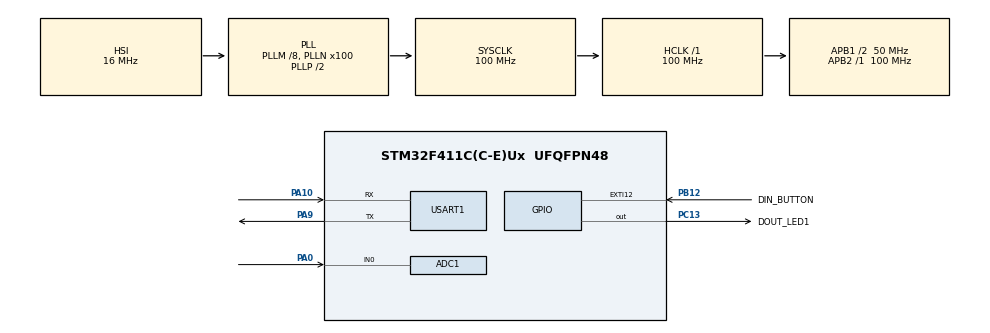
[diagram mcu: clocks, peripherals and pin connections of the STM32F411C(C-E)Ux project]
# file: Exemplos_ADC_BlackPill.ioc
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ADC1.Channel-2\#ChannelRegularConversion=ADC_CHANNEL_0
ADC1.ContinuousConvMode=ENABLE
ADC1.NbrOfConversionFlag=1
ADC1.Rank-2\#ChannelRegularConversion=1
ADC1.SamplingTime-2\#ChannelRegularConversion=ADC_SAMPLETIME_3CYCLES
ADC1.master=1
Dma.ADC1.0.Direction=DMA_PERIPH_TO_MEMORY
Dma.ADC1.0.FIFOMode=DMA_FIFOMODE_DISABLE
Dma.ADC1.0.Instance=DMA2_Stream0
Dma.ADC1.0.MemDataAlignment=DMA_MDATAALIGN_HALFWORD
Dma.ADC1.0.MemInc=DMA_MINC_ENABLE
Dma.ADC1.0.Mode=DMA_CIRCULAR
Dma.ADC1.0.PeriphDataAlignment=DMA_PDATAALIGN_HALFWORD
Dma.ADC1.0.PeriphInc=DMA_PINC_DISABLE
Dma.ADC1.0.Priority=DMA_PRIORITY_LOW
Dma.Request0=ADC1
FREERTOS.Tasks01=defaultTask,0,128,StartDefaultTask,Default,NULL,Dynamic,NULL,NULL
Mcu.Family=STM32F4
Mcu.Name=STM32F411C(C-E)Ux
Mcu.Package=UFQFPN48
NVIC.DMA2_Stream0_IRQn=true\:5\:0\:false\:false\:true\:true\:false\:true
NVIC.EXTI15_10_IRQn=true\:5\:0\:false\:false\:true\:false\:true\:true
NVIC.PriorityGroup=NVIC_PRIORITYGROUP_4
NVIC.TIM2_IRQn=true\:15\:0\:false\:false\:true\:false\:false\:true
NVIC.TimeBase=TIM2_IRQn
NVIC.TimeBaseIP=TIM2
PA0-WKUP.Signal=ADCx_IN0
PA10.Mode=Asynchronous
PA10.Signal=USART1_RX
PA13.Mode=Serial_Wire
PA13.Signal=SYS_JTMS-SWDIO
PA14.Mode=Serial_Wire
PA14.Signal=SYS_JTCK-SWCLK
PA9.Mode=Asynchronous
PA9.Signal=USART1_TX
PB12.GPIO_Label=DIN_BUTTON
PB12.GPIO_PuPd=GPIO_PULLUP
PB12.Signal=GPXTI12
PC13-ANTI_TAMP.GPIO_Label=DOUT_LED1
PC13-ANTI_TAMP.GPIO_PuPd=GPIO_PULLUP
PC13-ANTI_TAMP.GPIO_Speed=GPIO_SPEED_FREQ_LOW
PC13-ANTI_TAMP.PinState=GPIO_PIN_SET
PC13-ANTI_TAMP.Signal=GPIO_Output
PC14-OSC32_IN.Mode=LSE-External-Oscillator
PC14-OSC32_IN.Signal=RCC_OSC32_IN
PC15-OSC32_OUT.Mode=LSE-External-Oscillator
PC15-OSC32_OUT.Signal=RCC_OSC32_OUT
PH0\ -\ OSC_IN.Mode=HSE-External-Oscillator
PH0\ -\ OSC_IN.Signal=RCC_OSC_IN
PH1\ -\ OSC_OUT.Mode=HSE-External-Oscillator
PH1\ -\ OSC_OUT.Signal=RCC_OSC_OUT
ProjectManager.HeapSize=0x200
ProjectManager.StackSize=0x400
ProjectManager.TargetToolchain=STM32CubeIDE
RCC.48MHZClocksFreq_Value=50000000
RCC.AHBFreq_Value=100000000
RCC.APB1CLKDivider=RCC_HCLK_DIV2
RCC.APB1Freq_Value=50000000
RCC.APB1TimFreq_Value=100000000
RCC.APB2Freq_Value=100000000
RCC.APB2TimFreq_Value=100000000
RCC.CortexFreq_Value=100000000
RCC.HCLKFreq_Value=100000000
RCC.HSE_VALUE=25000000
RCC.HSI_VALUE=16000000
RCC.PLLM=8
RCC.PLLN=100
RCC.SYSCLKFreq_VALUE=100000000
RCC.SYSCLKSource=RCC_SYSCLKSOURCE_PLLCLK
RCC.VCOOutputFreq_Value=200000000
SH.ADCx_IN0.0=ADC1_IN0,IN0
USART1.VirtualMode=VM_ASYNC
VP_FREERTOS_VS_CMSIS_V1.Mode=CMSIS_V1
VP_SYS_VS_tim2.Mode=TIM2
board=custom

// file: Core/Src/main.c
/* USER CODE BEGIN Header */
/**
 ******************************************************************************
 * @file           : main.c
 * @brief          : Main program body
 ******************************************************************************
 * @attention
 *
 * <h2><center>&copy; Copyright (c) 2022 STMicroelectronics.
 * All rights reserved.</center></h2>
 *
 * This software component is licensed by ST under BSD 3-Clause license,
 * the "License"; You may not use this file except in compliance with the
 * License. You may obtain a copy of the License at:
 *                        opensource.org/licenses/BSD-3-Clause
 *
 ******************************************************************************
 */
/* USER CODE END Header */
#include "main.h"

/* USER CODE BEGIN Includes */
#include "FreeRTOS.h"
#include "task.h"
#include "queue.h"
#include "semphr.h"
#include "event_groups.h"
#include "timers.h"

#include <stdio.h>
#include <string.h>
#include <stdint.h>
/* USER CODE END Includes */

/* USER CODE BEGIN PTD */
typedef enum {
	Bit_RESET = 0, Bit_SET
} BitAction;
/* USER CODE END PTD */

/* USER CODE BEGIN PD */
#define ULONG_MAX 0xFFFFFFFFUL

#define TNBIT_1 0x01
#define TNBIT_2 0x02
#define TNBIT_3 0x03
#define TNBIT_4 0x04
/* USER CODE END PD */

ADC_HandleTypeDef hadc1;

UART_HandleTypeDef huart1;

/* USER CODE BEGIN PV */
SemaphoreHandle_t xMutex = NULL;

TaskHandle_t xTaskHandle_ISR;
TaskHandle_t xTaskHandle_Evt_Ext;
TaskHandle_t xTaskHandle_3;
TaskHandle_t xTaskHandle_Recv_ADC;
/* USER CODE END PV */

void SystemClock_Config(void);
static void MX_GPIO_Init(void);
static void MX_ADC1_Init(void);
static void MX_USART1_UART_Init(void);
void StartDefaultTask(void const *argument);

/* USER CODE BEGIN PFP */
void vTask_blink(void *pvParameter);
void vTask_Handle(void *pvParameter);
void vTask_1(void *pvParameter);
void vTask_2(void *pvParameter);
void vTask_3(void *pvParameter);
void vTask_4(void *pvParameter);
void vTask_SEND_ADC(void *pvParameter);
void vTask_Recv_ADC(void *pvParameter);

void vPrintString(char *UartSend_f);
void USARTlib_Putc(UART_HandleTypeDef *huart, char c);
void USARTlib_Puts(char *str);
uint32_t Ain_Read_value();
/* USER CODE END PFP */

int main(void) {

	/* MCU Configuration--------------------------------------------------------*/

	/* Reset of all peripherals, Initializes the Flash interface and the Systick. */
	HAL_Init();

	/* Configure the system clock */
	SystemClock_Config();

	/* Initialize all configured peripherals */
	MX_GPIO_Init();
	MX_ADC1_Init();
	MX_USART1_UART_Init();

	/* USER CODE BEGIN RTOS_MUTEX */
	/* add mutexes, ... */
	xMutex = xSemaphoreCreateMutex();

	if (xMutex != NULL)
		vPrintString("xMutex criada com sucesso!\r\n");
	/* USER CODE END RTOS_MUTEX */

	/* Create the thread(s) */
	/* definition and creation of defaultTask */

	/* USER CODE BEGIN RTOS_THREADS */
	/* add threads, ... */

	if ((xTaskCreate(vTask_blink, "blink task", configMINIMAL_STACK_SIZE * 4,
	NULL, 1, NULL)) != pdTRUE) {
		vPrintString(
				"nao foi possivel alocar tarefa vTaskBlink no escalonador");
	}

	if ((xTaskCreate(vTask_Handle, "handle task", configMINIMAL_STACK_SIZE,
	NULL, 2, &xTaskHandle_ISR)) != pdTRUE) {
		vPrintString(
				"nao foi possivel alocar tarefa vTask_Handle no escalonador");
	}

	if ((xTaskCreate(vTask_1, "task 1", configMINIMAL_STACK_SIZE, NULL, 1, NULL))
			!= pdTRUE) {
		vPrintString("nao foi possivel alocar tarefa vTask_1 no escalonador");
	}

	if ((xTaskCreate(vTask_2, "task 2", configMINIMAL_STACK_SIZE, NULL, 1, NULL))
			!= pdTRUE) {
		vPrintString("nao foi possivel alocar tarefa vTask_2 no escalonador");
	}

	if ((xTaskCreate(vTask_3, "task 3", configMINIMAL_STACK_SIZE, NULL, 2,
			&xTaskHandle_3)) != pdTRUE) {
		vPrintString("nao foi possivel alocar tarefa vTask_3 no escalonador");
	}

	if ((xTaskCreate(vTask_4, "task 4", configMINIMAL_STACK_SIZE, NULL, 2,
			&xTaskHandle_Evt_Ext)) != pdTRUE) {
		vPrintString("nao foi possivel alocar tarefa vTask_4 no escalonador");
	}

	if ((xTaskCreate(vTask_SEND_ADC, "taskADC", configMINIMAL_STACK_SIZE, NULL,
			1, NULL)) != pdTRUE) {
		vPrintString("nao foi possivel alocar tarefa vTaskADC no escalonador");
	}

	if ((xTaskCreate(vTask_Recv_ADC, "RECV ADC", configMINIMAL_STACK_SIZE, NULL,
			3, &xTaskHandle_Recv_ADC)) != pdTRUE) {
		vPrintString(
				"nao foi possivel alocar tarefa vTask_Recv_ADC no escalonador");
	}

	vTaskStartScheduler();
	/* USER CODE END RTOS_THREADS */

	/* Start scheduler */

	/* We should never get here as control is now taken by the scheduler */
	/* Infinite loop */
	while (1) {

	}
}

void SystemClock_Config(void) {
	RCC_OscInitTypeDef RCC_OscInitStruct = { 0 };
	RCC_ClkInitTypeDef RCC_ClkInitStruct = { 0 };

	/** Configure the main internal regulator output voltage
	 */
	__HAL_RCC_PWR_CLK_ENABLE();
	__HAL_PWR_VOLTAGESCALING_CONFIG(PWR_REGULATOR_VOLTAGE_SCALE1);
	/** Initializes the RCC Oscillators according to the specified parameters
	 * in the RCC_OscInitTypeDef structure.
	 */
	RCC_OscInitStruct.OscillatorType = RCC_OSCILLATORTYPE_HSI;
	RCC_OscInitStruct.HSIState = RCC_HSI_ON;
	RCC_OscInitStruct.HSICalibrationValue = RCC_HSICALIBRATION_DEFAULT;
	RCC_OscInitStruct.PLL.PLLState = RCC_PLL_ON;
	RCC_OscInitStruct.PLL.PLLSource = RCC_PLLSOURCE_HSI;
	RCC_OscInitStruct.PLL.PLLM = 8;
	RCC_OscInitStruct.PLL.PLLN = 100;
	RCC_OscInitStruct.PLL.PLLP = RCC_PLLP_DIV2;
	RCC_OscInitStruct.PLL.PLLQ = 4;
	if (HAL_RCC_OscConfig(&RCC_OscInitStruct) != HAL_OK) {
		Error_Handler();
	}
	/** Initializes the CPU, AHB and APB buses clocks
	 */
	RCC_ClkInitStruct.ClockType = RCC_CLOCKTYPE_HCLK | RCC_CLOCKTYPE_SYSCLK
			| RCC_CLOCKTYPE_PCLK1 | RCC_CLOCKTYPE_PCLK2;
	RCC_ClkInitStruct.SYSCLKSource = RCC_SYSCLKSOURCE_PLLCLK;
	RCC_ClkInitStruct.AHBCLKDivider = RCC_SYSCLK_DIV1;
	RCC_ClkInitStruct.APB1CLKDivider = RCC_HCLK_DIV2;
	RCC_ClkInitStruct.APB2CLKDivider = RCC_HCLK_DIV1;

	if (HAL_RCC_ClockConfig(&RCC_ClkInitStruct, FLASH_LATENCY_3) != HAL_OK) {
		Error_Handler();
	}
}

static void MX_ADC1_Init(void) {

	ADC_ChannelConfTypeDef sConfig = { 0 };

	/** Configure the global features of the ADC (Clock, Resolution, Data Alignment and number of conversion)
	 */
	hadc1.Instance = ADC1;
	hadc1.Init.ClockPrescaler = ADC_CLOCK_SYNC_PCLK_DIV4;
	hadc1.Init.Resolution = ADC_RESOLUTION_12B;
	hadc1.Init.ScanConvMode = DISABLE;
	hadc1.Init.ContinuousConvMode = DISABLE;
	hadc1.Init.DiscontinuousConvMode = DISABLE;
	hadc1.Init.ExternalTrigConvEdge = ADC_EXTERNALTRIGCONVEDGE_NONE;
	hadc1.Init.ExternalTrigConv = ADC_SOFTWARE_START;
	hadc1.Init.DataAlign = ADC_DATAALIGN_RIGHT;
	hadc1.Init.NbrOfConversion = 1;
	hadc1.Init.DMAContinuousRequests = DISABLE;
	hadc1.Init.EOCSelection = ADC_EOC_SINGLE_CONV;
	if (HAL_ADC_Init(&hadc1) != HAL_OK) {
		Error_Handler();
	}
	/** Configure for the selected ADC regular channel its corresponding rank in the sequencer and its sample time.
	 */
	sConfig.Channel = ADC_CHANNEL_0;
	sConfig.Rank = 1;
	sConfig.SamplingTime = ADC_SAMPLETIME_3CYCLES;
	if (HAL_ADC_ConfigChannel(&hadc1, &sConfig) != HAL_OK) {
		Error_Handler();
	}

}

static void MX_USART1_UART_Init(void) {

	huart1.Instance = USART1;
	huart1.Init.BaudRate = 115200;
	huart1.Init.WordLength = UART_WORDLENGTH_8B;
	huart1.Init.StopBits = UART_STOPBITS_1;
	huart1.Init.Parity = UART_PARITY_NONE;
	huart1.Init.Mode = UART_MODE_TX_RX;
	huart1.Init.HwFlowCtl = UART_HWCONTROL_NONE;
	huart1.Init.OverSampling = UART_OVERSAMPLING_16;
	if (HAL_UART_Init(&huart1) != HAL_OK) {
		Error_Handler();
	}

}

static void MX_GPIO_Init(void) {
	GPIO_InitTypeDef GPIO_InitStruct = { 0 };

	/* GPIO Ports Clock Enable */
	__HAL_RCC_GPIOC_CLK_ENABLE();
	__HAL_RCC_GPIOH_CLK_ENABLE();
	__HAL_RCC_GPIOA_CLK_ENABLE();
	__HAL_RCC_GPIOB_CLK_ENABLE();

	/*Configure GPIO pin Output Level */
	HAL_GPIO_WritePin(DOUT_LED1_GPIO_Port, DOUT_LED1_Pin, GPIO_PIN_SET);

	/*Configure GPIO pin : DOUT_LED1_Pin */
	GPIO_InitStruct.Pin = DOUT_LED1_Pin;
	GPIO_InitStruct.Mode = GPIO_MODE_OUTPUT_PP;
	GPIO_InitStruct.Pull = GPIO_PULLUP;
	GPIO_InitStruct.Speed = GPIO_SPEED_FREQ_LOW;
	HAL_GPIO_Init(DOUT_LED1_GPIO_Port, &GPIO_InitStruct);

	/*Configure GPIO pin : DIN_BUTTON_Pin */
	GPIO_InitStruct.Pin = DIN_BUTTON_Pin;
	GPIO_InitStruct.Mode = GPIO_MODE_IT_RISING;
	GPIO_InitStruct.Pull = GPIO_PULLUP;
	HAL_GPIO_Init(DIN_BUTTON_GPIO_Port, &GPIO_InitStruct);

	/* EXTI interrupt init*/
	HAL_NVIC_SetPriority(EXTI15_10_IRQn, 0, 0);
	HAL_NVIC_EnableIRQ(EXTI15_10_IRQn);

}

/* USER CODE BEGIN 4 */
void vPrintString(char *UartSend_f) {
	xSemaphoreTake(xMutex, portMAX_DELAY);
	{

		USARTlib_Puts(UartSend_f);

	}
	xSemaphoreGive(xMutex);

}

void USARTlib_Putc(UART_HandleTypeDef *huart, char c) {
	//Envia caracter
	HAL_UART_Transmit(huart, &c, 1, 10);
}

void USARTlib_Puts(char *str) {
	while (*str) {
		USARTlib_Putc(&huart1, *str++);
	}
}

uint32_t Ain_Read_value() {
	uint32_t result;

//	HAL_ADCEx_Calibration_Start(&hadc1);

	HAL_ADC_Start(&hadc1);
	HAL_ADC_PollForConversion(&hadc1, 1000);
	result = HAL_ADC_GetValue(&hadc1);
	HAL_ADC_Stop(&hadc1);

	return result;
}

void HAL_GPIO_EXTI_Callback(uint16_t GPIO_Pin) {
	BaseType_t xHigherPriorityTaskWoken;

	/* O parâmetro xHigherPriorityTaskWoken deve ser inicializado para pdFALSE,
	 * pois será definido como pdTRUE dentro da função API segura contra interrupções,
	 * se for necessária uma alternância de contexto */

	xHigherPriorityTaskWoken = pdFALSE;

	/* Envia uma notificação diretamente para tarefa que esta bloqueada aguardando o Semaforo por TaskNotify */

	vTaskNotifyGiveFromISR( /* O identificador da tarefa para a qual a notificação está sendo enviada.
	 * O identificador foi salvo quando a tarefa foi criada. */
	xTaskHandle_ISR, &xHigherPriorityTaskWoken);

	vTaskNotifyGiveFromISR(xTaskHandle_ISR, &xHigherPriorityTaskWoken);
	vTaskNotifyGiveFromISR(xTaskHandle_ISR, &xHigherPriorityTaskWoken);

	xTaskNotifyFromISR(xTaskHandle_Evt_Ext, //Handle da task a ser notificada
			TNBIT_1,//BIT a ser verificado
			eSetBits,//Setando bit nivel alto
			NULL);//Parametro NULL pois não estou usando Token para acordar esta task, e sim outra.

	/* Passa o token xHigherPriorityTaskWoken para portYIELD_FROM_ISR().
	 * Se xHigherPriorityTaskWoken foi definido como pdTRUE na chamada da função vTaskNotifyGiveFromISR(),
	 *  portYIELD_FROM_ISR() irá solicitar uma troca de contexto para tarefa pendente de notificação.
	 * Se xHigherPriorityTaskWoken for pdFALSE,
	 * portYIELD_FROM_ISR() não tera nenhum efeito no escalonador.
	 */
	portYIELD_FROM_ISR(xHigherPriorityTaskWoken);

}

/*********************************** TASKS **************************************/

void vTask_SEND_ADC(void *pvParameter) {
	vPrintString("vTask_SEND_ADC iniciada!\r\n");

	uint32_t analog_pot = 0;

	BaseType_t xResult = pdFAIL;

	for (;;) {
		analog_pot = Ain_Read_value();

		//essa task emula uma chamada por ISR, a unica diferença é que não usamos o xHigherPriorityTaskWoken
		do {
			//enquanto xResult não retornar pdPASS que é informado caso a outra tarefa ja tenha lido o valor, ele irá permancer neste loop tentando executar o envio
			//é importante observar que o parametro eSetValueWithoutOverwrite significa que:
			//so irá modificar o valor passado no parametro value utilizado na variavel analog_pot
			//caso a tarefa notificada tenha lido este valor.
			xResult = xTaskNotify(xTaskHandle_Recv_ADC, analog_pot,
					eSetValueWithoutOverwrite);
		} while (xResult != pdPASS);

		vTaskDelay(1000 / portTICK_PERIOD_MS);
	}
}

void vTask_Recv_ADC(void *pvParameter) {
	vPrintString("vTask_Recv_ADC iniciada!\r\n");

	uint32_t ulADCValue = 0;
	BaseType_t xResult = pdFAIL;
	char string_value[20] = { 0 };

	for (;;) {
		xResult = xTaskNotifyWait(0, 0, &ulADCValue, portMAX_DELAY);
		if (xResult == pdPASS) {
			//aqui podemos processar o valor que chegou do adc, podemos fazer algum filtro digital, media movel ou enviar a um display e etc.
			sprintf(string_value, "Value: %lu\r\n", ulADCValue);
			vPrintString(string_value);
		} else {
			vPrintString("Erro ao receber task notify!");
		}
	}
}
void vTask_1(void *pvParameter) {
	vPrintString("vTask_1 iniciada!\r\n");

	for (;;) {
		xTaskNotify(xTaskHandle_3, TNBIT_2, eSetBits);
		vTaskDelay(2000 / portTICK_PERIOD_MS);
	}

	vTaskDelete(NULL);
}

void vTask_2(void *pvParameter) {
	vPrintString("vTask_2 iniciada!\r\n");

	for (;;) {
		xTaskNotify(xTaskHandle_3, TNBIT_3, eSetBits);
		vTaskDelay(1000 / portTICK_PERIOD_MS);
	}

	vTaskDelete(NULL);
}

void vTask_3(void *pvParameter) {
	vPrintString("vTask_3 iniciada!\r\n");

	uint32_t ulNotifiedValue = 0;

	for (;;) {
		xTaskNotifyWait( pdFALSE, //pdFALSE = não limpa os bits na entrada da função / pdTRUE = Limpa os bits na entrada da função
				ULONG_MAX, //Limpar todos os BITS na saída, caso queira limpar separadamente usar (TNBIT_3 | TNBIT_2) como exemplo
				&ulNotifiedValue, //Variavel para armazenar o valor do bit notificado
				portMAX_DELAY);

		if (ulNotifiedValue == TNBIT_2) {
			vPrintString("Recebido evento da tarefa 1 no BIT_2! \r\n");
		} else if (ulNotifiedValue == TNBIT_3) {
			vPrintString("Recebido evento da tarefa 2 no BIT_3! \r\n");
		} else {
			//tratar algum erro
			vPrintString("Outro BIT foi sinalizado!");
		}
	}
	vTaskDelete(NULL);
}

void vTask_4(void *pvParameter) {
	vPrintString("vTask_4 iniciada!\r\n");

	uint32_t ulNotifiedValue = 0;

	for (;;) {

		if (xTaskNotifyWait( pdFALSE, //pdFALSE = não limpa os bits na entrada da função / pdTRUE = Limpa os bits na entrada da função
				ULONG_MAX, 					//Limpar todos os BITS na saída
				&ulNotifiedValue, //Variavel para armazenar o valor do bit notificado
				portMAX_DELAY) == pdPASS) {
			if (ulNotifiedValue == TNBIT_1) {
				vPrintString("Recebido evento no BIT_1! \r\n");
			} else {
				vPrintString("Outro BIT foi sinalizado!");
			}
		}
	}

	vTaskDelete(NULL);
}

void vTask_Handle(void *pvParameter) {
	vPrintString("Task gerenciada pelo semaforo iniciada!");

	const TickType_t xMaxExpectedBlockTime = pdMS_TO_TICKS(5000);

	for (;;) {
		/*Aguarda uma notificação da ISR por 500ms. */
		/** pdTRUE Limpa o buffer contador, trabalhando somente como semaforo binario.
		 *	pdFALSE incrementa a variavel ulEvents com o numero de Give gerados na ISR, assim trabalhando como semaforo contador.
		 *	Cada chamada TaskNotify decrementa a quantidade de ISR geradas pelo Give.
		 */

		/*Quando xClearOnExit é pdFALSE,
		 * chamar ulTaskNotifyTake() só poderá diminuir (reduzir em um) o valor de notificação da tarefa de chamada,
		 * em vez de reduzi-lo até zero. A contagem de notificações é a diferença entre o número de eventos que ocorreram e
		 * o número de eventos que foram processados. Simplificando o decremento da notificação dentro da função ulTaskNotifyTake
		 * não precisamos utilizar uma variavel para fazer a contagem
		 */

		if (ulTaskNotifyTake(pdFALSE, xMaxExpectedBlockTime) != 0) {
			// Para chegar aqui, pelo menos um evento deve ter ocorrido..

			vPrintString("Handler task - Processing event.\r\n");
		} else {
			/* Se essa parte da função for atingida,
			 * nenhuma ISR foi recebida no tempo de 500mS
			 * podendo ser executado algum tratamento de erro ou logica qualquer. */
			vPrintString("Time-out TaskNotify.\r\n");
		}
	}
}

void vTask_blink(void *pvParameter) {
	char buff[400];

	//uint16_t size_heap = 0;

	for (;;) {
		vTaskList(buff);

		vPrintString(
				"\r\nTask-------------State-----Prio------Stack---Num\r\n");
		vPrintString(buff);
		vPrintString("\n\n\n");

		memset(buff, 0, sizeof(buff));
		//size_heap = xPortGetMinimumEverFreeHeapSize();
		sprintf(buff, "Free Heap: %d bytes\n\n",
				xPortGetMinimumEverFreeHeapSize());

		vPrintString(buff);

		vTaskDelay(5000 / portTICK_PERIOD_MS);

		HAL_GPIO_TogglePin(DOUT_LED1_GPIO_Port, DOUT_LED1_Pin);

	}

	vTaskDelete(NULL);
}

/* USER CODE END 4 */

void StartDefaultTask(void const *argument) {
	for (;;) {
		osDelay(1);
	}
}

void HAL_TIM_PeriodElapsedCallback(TIM_HandleTypeDef *htim) {
	if (htim->Instance == TIM10) {
		HAL_IncTick();
	}
}

void Error_Handler(void) {
	__disable_irq();
	while (1) {
	}
}

/************************ (C) COPYRIGHT STMicroelectronics *****END OF FILE****/
